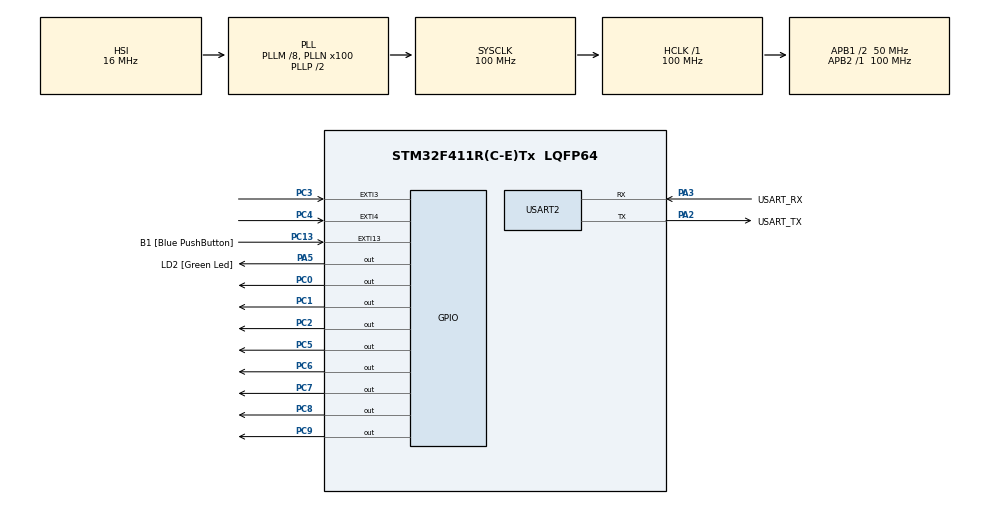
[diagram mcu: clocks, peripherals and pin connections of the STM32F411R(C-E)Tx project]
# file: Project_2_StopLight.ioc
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Mcu.Family=STM32F4
Mcu.Name=STM32F411R(C-E)Tx
Mcu.Package=LQFP64
NVIC.EXTI15_10_IRQn=true\:0\:0\:false\:false\:true\:true\:true\:true
NVIC.EXTI3_IRQn=true\:0\:0\:false\:false\:true\:true\:true\:true
NVIC.EXTI4_IRQn=true\:0\:0\:false\:false\:true\:true\:true\:true
NVIC.PriorityGroup=NVIC_PRIORITYGROUP_0
PA13.GPIO_Label=TMS
PA13.Mode=Serial_Wire
PA13.Signal=SYS_JTMS-SWDIO
PA14.GPIO_Label=TCK
PA14.Mode=Serial_Wire
PA14.Signal=SYS_JTCK-SWCLK
PA2.GPIO_Label=USART_TX
PA2.Mode=Asynchronous
PA2.Signal=USART2_TX
PA3.GPIO_Label=USART_RX
PA3.Mode=Asynchronous
PA3.Signal=USART2_RX
PA5.GPIO_Label=LD2 [Green Led]
PA5.Signal=GPIO_Output
PB3.GPIO_Label=SWO
PB3.Signal=SYS_JTDO-SWO
PC0.Signal=GPIO_Output
PC1.Signal=GPIO_Output
PC13-ANTI_TAMP.GPIO_Label=B1 [Blue PushButton]
PC13-ANTI_TAMP.GPIO_ModeDefaultEXTI=GPIO_MODE_IT_FALLING
PC13-ANTI_TAMP.Signal=GPXTI13
PC14-OSC32_IN.Mode=LSE-External-Oscillator
PC14-OSC32_IN.Signal=RCC_OSC32_IN
PC15-OSC32_OUT.Mode=LSE-External-Oscillator
PC15-OSC32_OUT.Signal=RCC_OSC32_OUT
PC2.Signal=GPIO_Output
PC3.GPIO_ModeDefaultEXTI=GPIO_MODE_IT_RISING
PC3.Signal=GPXTI3
PC4.Signal=GPXTI4
PC5.Signal=GPIO_Output
PC6.Signal=GPIO_Output
PC7.Signal=GPIO_Output
PC8.Signal=GPIO_Output
PC9.Signal=GPIO_Output
PH0\ -\ OSC_IN.Mode=HSE-External-Clock-Source
PH0\ -\ OSC_IN.Signal=RCC_OSC_IN
PH1\ -\ OSC_OUT.Mode=HSE-External-Clock-Source
PH1\ -\ OSC_OUT.Signal=RCC_OSC_OUT
ProjectManager.HeapSize=0x200
ProjectManager.StackSize=0x400
ProjectManager.TargetToolchain=STM32CubeIDE
RCC.48MHZClocksFreq_Value=50000000
RCC.AHBFreq_Value=100000000
RCC.APB1CLKDivider=RCC_HCLK_DIV2
RCC.APB1Freq_Value=50000000
RCC.APB1TimFreq_Value=100000000
RCC.APB2Freq_Value=100000000
RCC.APB2TimFreq_Value=100000000
RCC.CortexFreq_Value=100000000
RCC.FLatency-AdvancedSettings=FLASH_LATENCY_3
RCC.HCLKFreq_Value=100000000
RCC.HSE_VALUE=8000000
RCC.HSI_VALUE=16000000
RCC.PLLM=8
RCC.PLLN=100
RCC.SYSCLKFreq_VALUE=100000000
RCC.SYSCLKSource=RCC_SYSCLKSOURCE_PLLCLK
RCC.VCOOutputFreq_Value=200000000
USART2.VirtualMode=VM_ASYNC
board=NUCLEO-F411RE

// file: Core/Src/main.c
/* USER CODE BEGIN Header */
/**
  ******************************************************************************
  * @file           : main.c
  * @brief          : Main program body
  ******************************************************************************
  * @attention
  *
  * <h2><center>&copy; Copyright (c) 2021 STMicroelectronics.
  * All rights reserved.</center></h2>
  *
  * This software component is licensed by ST under BSD 3-Clause license,
  * the "License"; You may not use this file except in compliance with the
  * License. You may obtain a copy of the License at:
  *                        opensource.org/licenses/BSD-3-Clause
  *
  ******************************************************************************
  */
/* USER CODE END Header */
#include "main.h"

/* USER CODE BEGIN Includes */
#include "stdint.h"

/* USER CODE END Includes */

UART_HandleTypeDef huart2;

/* USER CODE BEGIN PV */
uint8_t stateLED;
uint16_t lightTimer;
int crossWalk;
int leftTurn;
/* USER CODE END PV */

void SystemClock_Config(void);
static void MX_GPIO_Init(void);
static void MX_USART2_UART_Init(void);

int main(void)
{

  /* MCU Configuration--------------------------------------------------------*/

  /* Reset of all peripherals, Initializes the Flash interface and the Systick. */
  HAL_Init();

  /* Configure the system clock */
  SystemClock_Config();

  /* Initialize all configured peripherals */
  MX_GPIO_Init();
  MX_USART2_UART_Init();

  /* Infinite loop */
  /* USER CODE BEGIN WHILE */
  while (1)
  {

	  if(stateLED == 0 && lightTimer >= 5000){
		  stateLED = 1;
		  lightTimer = 0;
  	  }else if(stateLED == 1 && lightTimer >= 1000){
  		  stateLED = 2;
  		  lightTimer = 0;
  	  }else if(stateLED == 2 && lightTimer >= 5000){
  		  stateLED = 3;
  		  lightTimer = 0;
  	  }else if(stateLED == 3 && lightTimer >= 1000){
  		  if((leftTurn == 1)&&(crossWalk == 0)){
  		  stateLED = 4;
  		  lightTimer = 0;
  		  }else if((leftTurn == 1)&&(crossWalk == 1)){
  		  stateLED = 0;
  		  crossWalk = 0;
  		  lightTimer = 0;
  		  }else{
  			  stateLED = 0;
  			  lightTimer = 0;
  		  }
  	  }else if(stateLED == 4 && lightTimer >= 5000){
  		  stateLED = 0;
  		  leftTurn = 0;
  		  lightTimer = 0;
  	  }

	  switch (stateLED) {
		case 0:
			  HAL_GPIO_WritePin(GPIOC, GPIO_PIN_6|GPIO_PIN_2|GPIO_PIN_0, GPIO_PIN_SET);
			  HAL_GPIO_WritePin(GPIOC, GPIO_PIN_8|GPIO_PIN_5|GPIO_PIN_9|GPIO_PIN_7|GPIO_PIN_1, GPIO_PIN_RESET);
			break;
		case 1:
			  HAL_GPIO_WritePin(GPIOC, GPIO_PIN_5|GPIO_PIN_2|GPIO_PIN_0, GPIO_PIN_SET);
			  HAL_GPIO_WritePin(GPIOC, GPIO_PIN_8|GPIO_PIN_6|GPIO_PIN_9|GPIO_PIN_7|GPIO_PIN_1, GPIO_PIN_RESET);
	  		  break;
		case 2:
			  HAL_GPIO_WritePin(GPIOC, GPIO_PIN_8|GPIO_PIN_9, GPIO_PIN_SET);
			  HAL_GPIO_WritePin(GPIOC, GPIO_PIN_6|GPIO_PIN_5|GPIO_PIN_7|GPIO_PIN_0|GPIO_PIN_1|GPIO_PIN_2, GPIO_PIN_RESET);
	  		  break;
		case 3:
			  HAL_GPIO_WritePin(GPIOC, GPIO_PIN_8|GPIO_PIN_7, GPIO_PIN_SET);
			  HAL_GPIO_WritePin(GPIOC, GPIO_PIN_6|GPIO_PIN_5|GPIO_PIN_9|GPIO_PIN_0|GPIO_PIN_1|GPIO_PIN_2, GPIO_PIN_RESET);
			  break;
		case 4:
			  HAL_GPIO_WritePin(GPIOC, GPIO_PIN_8|GPIO_PIN_0|GPIO_PIN_1, GPIO_PIN_SET);
			  HAL_GPIO_WritePin(GPIOC, GPIO_PIN_6|GPIO_PIN_5|GPIO_PIN_9|GPIO_PIN_7|GPIO_PIN_2, GPIO_PIN_RESET);
		default:
			break;
	}

    /* USER CODE END WHILE */

  }
}

void SystemClock_Config(void)
{
  RCC_OscInitTypeDef RCC_OscInitStruct = {0};
  RCC_ClkInitTypeDef RCC_ClkInitStruct = {0};

  /** Configure the main internal regulator output voltage
  */
  __HAL_RCC_PWR_CLK_ENABLE();
  __HAL_PWR_VOLTAGESCALING_CONFIG(PWR_REGULATOR_VOLTAGE_SCALE1);
  /** Initializes the RCC Oscillators according to the specified parameters
  * in the RCC_OscInitTypeDef structure.
  */
  RCC_OscInitStruct.OscillatorType = RCC_OSCILLATORTYPE_HSI;
  RCC_OscInitStruct.HSIState = RCC_HSI_ON;
  RCC_OscInitStruct.HSICalibrationValue = RCC_HSICALIBRATION_DEFAULT;
  RCC_OscInitStruct.PLL.PLLState = RCC_PLL_ON;
  RCC_OscInitStruct.PLL.PLLSource = RCC_PLLSOURCE_HSI;
  RCC_OscInitStruct.PLL.PLLM = 8;
  RCC_OscInitStruct.PLL.PLLN = 100;
  RCC_OscInitStruct.PLL.PLLP = RCC_PLLP_DIV2;
  RCC_OscInitStruct.PLL.PLLQ = 4;
  if (HAL_RCC_OscConfig(&RCC_OscInitStruct) != HAL_OK)
  {
    Error_Handler();
  }
  /** Initializes the CPU, AHB and APB buses clocks
  */
  RCC_ClkInitStruct.ClockType = RCC_CLOCKTYPE_HCLK|RCC_CLOCKTYPE_SYSCLK
                              |RCC_CLOCKTYPE_PCLK1|RCC_CLOCKTYPE_PCLK2;
  RCC_ClkInitStruct.SYSCLKSource = RCC_SYSCLKSOURCE_PLLCLK;
  RCC_ClkInitStruct.AHBCLKDivider = RCC_SYSCLK_DIV1;
  RCC_ClkInitStruct.APB1CLKDivider = RCC_HCLK_DIV2;
  RCC_ClkInitStruct.APB2CLKDivider = RCC_HCLK_DIV1;

  if (HAL_RCC_ClockConfig(&RCC_ClkInitStruct, FLASH_LATENCY_3) != HAL_OK)
  {
    Error_Handler();
  }
}

static void MX_USART2_UART_Init(void)
{

  huart2.Instance = USART2;
  huart2.Init.BaudRate = 115200;
  huart2.Init.WordLength = UART_WORDLENGTH_8B;
  huart2.Init.StopBits = UART_STOPBITS_1;
  huart2.Init.Parity = UART_PARITY_NONE;
  huart2.Init.Mode = UART_MODE_TX_RX;
  huart2.Init.HwFlowCtl = UART_HWCONTROL_NONE;
  huart2.Init.OverSampling = UART_OVERSAMPLING_16;
  if (HAL_UART_Init(&huart2) != HAL_OK)
  {
    Error_Handler();
  }

}

static void MX_GPIO_Init(void)
{
  GPIO_InitTypeDef GPIO_InitStruct = {0};

  /* GPIO Ports Clock Enable */
  __HAL_RCC_GPIOC_CLK_ENABLE();
  __HAL_RCC_GPIOH_CLK_ENABLE();
  __HAL_RCC_GPIOA_CLK_ENABLE();
  __HAL_RCC_GPIOB_CLK_ENABLE();

  /*Configure GPIO pin Output Level */
  HAL_GPIO_WritePin(GPIOC, GPIO_PIN_0|GPIO_PIN_1|GPIO_PIN_2|GPIO_PIN_5
                          |GPIO_PIN_6|GPIO_PIN_7|GPIO_PIN_8|GPIO_PIN_9, GPIO_PIN_RESET);

  /*Configure GPIO pin Output Level */
  HAL_GPIO_WritePin(LD2_GPIO_Port, LD2_Pin, GPIO_PIN_RESET);

  /*Configure GPIO pin : B1_Pin */
  GPIO_InitStruct.Pin = B1_Pin;
  GPIO_InitStruct.Mode = GPIO_MODE_IT_FALLING;
  GPIO_InitStruct.Pull = GPIO_NOPULL;
  HAL_GPIO_Init(B1_GPIO_Port, &GPIO_InitStruct);

  /*Configure GPIO pins : PC0 PC1 PC2 PC5
                           PC6 PC7 PC8 PC9 */
  GPIO_InitStruct.Pin = GPIO_PIN_0|GPIO_PIN_1|GPIO_PIN_2|GPIO_PIN_5
                          |GPIO_PIN_6|GPIO_PIN_7|GPIO_PIN_8|GPIO_PIN_9;
  GPIO_InitStruct.Mode = GPIO_MODE_OUTPUT_PP;
  GPIO_InitStruct.Pull = GPIO_NOPULL;
  GPIO_InitStruct.Speed = GPIO_SPEED_FREQ_LOW;
  HAL_GPIO_Init(GPIOC, &GPIO_InitStruct);

  /*Configure GPIO pins : PC3 PC4 */
  GPIO_InitStruct.Pin = GPIO_PIN_3|GPIO_PIN_4;
  GPIO_InitStruct.Mode = GPIO_MODE_IT_RISING;
  GPIO_InitStruct.Pull = GPIO_NOPULL;
  HAL_GPIO_Init(GPIOC, &GPIO_InitStruct);

  /*Configure GPIO pin : LD2_Pin */
  GPIO_InitStruct.Pin = LD2_Pin;
  GPIO_InitStruct.Mode = GPIO_MODE_OUTPUT_PP;
  GPIO_InitStruct.Pull = GPIO_NOPULL;
  GPIO_InitStruct.Speed = GPIO_SPEED_FREQ_LOW;
  HAL_GPIO_Init(LD2_GPIO_Port, &GPIO_InitStruct);

  /* EXTI interrupt init*/
  HAL_NVIC_SetPriority(EXTI3_IRQn, 0, 0);
  HAL_NVIC_EnableIRQ(EXTI3_IRQn);

  HAL_NVIC_SetPriority(EXTI4_IRQn, 0, 0);
  HAL_NVIC_EnableIRQ(EXTI4_IRQn);

  HAL_NVIC_SetPriority(EXTI15_10_IRQn, 0, 0);
  HAL_NVIC_EnableIRQ(EXTI15_10_IRQn);

}

void Error_Handler(void)
{
  __disable_irq();
  while (1)
  {
  }
}

/************************ (C) COPYRIGHT STMicroelectronics *****END OF FILE****/
